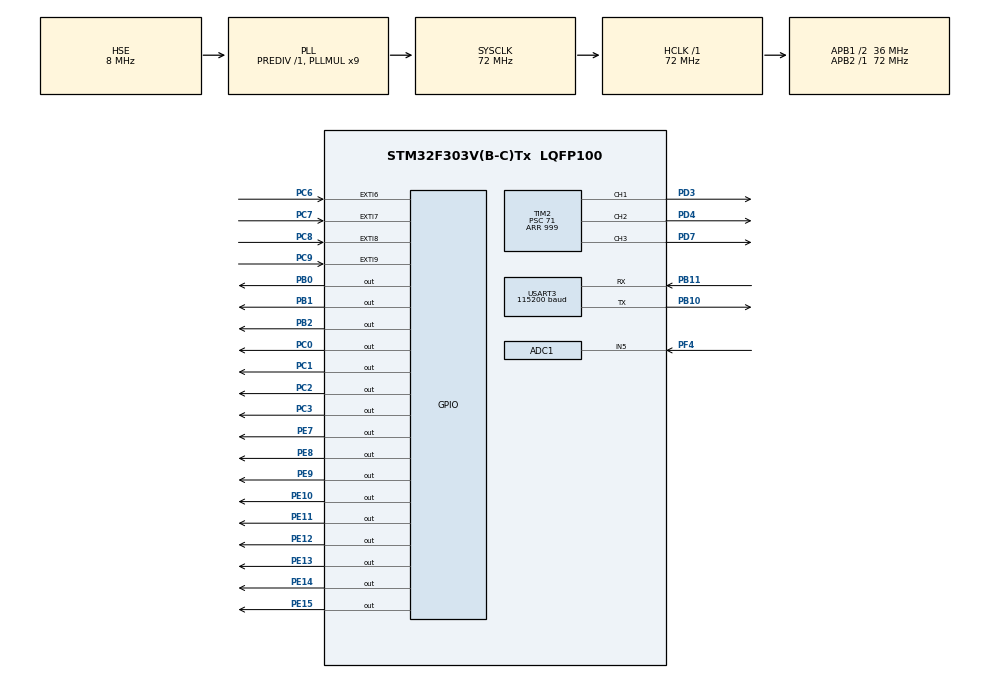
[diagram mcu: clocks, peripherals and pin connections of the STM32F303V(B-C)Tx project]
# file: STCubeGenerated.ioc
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ADC1.Channel-0\#ChannelRegularConversion=ADC_CHANNEL_5
ADC1.ContinuousConvMode=DISABLE
ADC1.DMAContinuousRequests=ENABLE
ADC1.ExternalTrigConv=ADC_EXTERNALTRIGCONV_T3_TRGO
ADC1.NbrOfConversionFlag=1
ADC1.Offset-0\#ChannelRegularConversion=0
ADC1.OffsetNumber-0\#ChannelRegularConversion=ADC_OFFSET_NONE
ADC1.Rank-0\#ChannelRegularConversion=1
ADC1.SamplingTime-0\#ChannelRegularConversion=ADC_SAMPLETIME_1CYCLE_5
ADC1.master=1
Dma.ADC1.0.Direction=DMA_PERIPH_TO_MEMORY
Dma.ADC1.0.Instance=DMA1_Channel1
Dma.ADC1.0.MemDataAlignment=DMA_MDATAALIGN_HALFWORD
Dma.ADC1.0.MemInc=DMA_MINC_ENABLE
Dma.ADC1.0.Mode=DMA_CIRCULAR
Dma.ADC1.0.PeriphDataAlignment=DMA_PDATAALIGN_HALFWORD
Dma.ADC1.0.PeriphInc=DMA_PINC_DISABLE
Dma.ADC1.0.Priority=DMA_PRIORITY_LOW
Dma.Request0=ADC1
Mcu.Family=STM32F3
Mcu.Name=STM32F303V(B-C)Tx
Mcu.Package=LQFP100
NVIC.DMA1_Channel1_IRQn=true\:0\:0\:false\:false\:true\:false\:true
NVIC.EXTI9_5_IRQn=true\:2\:0\:true\:false\:true\:true\:true
NVIC.PriorityGroup=NVIC_PRIORITYGROUP_4
NVIC.USART3_IRQn=true\:1\:0\:true\:false\:true\:true\:true
PB0.Signal=GPIO_Output
PB1.Signal=GPIO_Output
PB10.Mode=Asynchronous
PB10.Signal=USART3_TX
PB11.Mode=Asynchronous
PB11.Signal=USART3_RX
PB2.Signal=GPIO_Output
PC0.Signal=GPIO_Output
PC1.Signal=GPIO_Output
PC2.Signal=GPIO_Output
PC3.Signal=GPIO_Output
PC6.Signal=GPXTI6
PC7.Signal=GPXTI7
PC8.Signal=GPXTI8
PC9.Signal=GPXTI9
PD3.Signal=S_TIM2_CH1_ETR
PD4.Signal=S_TIM2_CH2
PD7.Signal=S_TIM2_CH3
PE10.Signal=GPIO_Output
PE11.Signal=GPIO_Output
PE12.Signal=GPIO_Output
PE13.Signal=GPIO_Output
PE14.Signal=GPIO_Output
PE15.Signal=GPIO_Output
PE7.Signal=GPIO_Output
PE8.Signal=GPIO_Output
PE9.Signal=GPIO_Output
PF0-OSC_IN.Mode=HSE-External-Clock-Source
PF0-OSC_IN.Signal=RCC_OSC_IN
PF4.Mode=IN5-Single-Ended
PF4.Signal=ADC1_IN5
ProjectManager.HeapSize=0x200
ProjectManager.StackSize=0x400
ProjectManager.TargetToolchain=MDK-ARM V5
RCC.AHBFreq_Value=72000000
RCC.APB1CLKDivider=RCC_HCLK_DIV2
RCC.APB1Freq_Value=36000000
RCC.APB1TimFreq_Value=72000000
RCC.APB2Freq_Value=72000000
RCC.APB2TimFreq_Value=72000000
RCC.CortexFreq_Value=72000000
RCC.HCLKFreq_Value=72000000
RCC.HSE_VALUE=8000000
RCC.HSI_VALUE=8000000
RCC.LSE_VALUE=32768
RCC.PLLMUL=RCC_PLL_MUL9
RCC.PLLSourceVirtual=RCC_PLLSOURCE_HSE
RCC.SYSCLKFreq_VALUE=72000000
RCC.SYSCLKSourceVirtual=RCC_SYSCLKSOURCE_PLLCLK
RCC.USBFreq_Value=72000000
SH.S_TIM2_CH1_ETR.0=TIM2_CH1,PWM Generation1 CH1
SH.S_TIM2_CH2.0=TIM2_CH2,PWM Generation2 CH2
SH.S_TIM2_CH3.0=TIM2_CH3,PWM Generation3 CH3
TIM2.Channel-PWM\ Generation1\ CH1=TIM_CHANNEL_1
TIM2.Channel-PWM\ Generation2\ CH2=TIM_CHANNEL_2
TIM2.Channel-PWM\ Generation3\ CH3=TIM_CHANNEL_3
TIM2.Period=999
TIM2.Prescaler=71
TIM2.Pulse-PWM\ Generation1\ CH1=499
TIM2.Pulse-PWM\ Generation2\ CH2=499
TIM2.Pulse-PWM\ Generation3\ CH3=499
TIM3.Period=19999
TIM3.Prescaler=719
TIM3.TIM_MasterOutputTrigger=TIM_TRGO_UPDATE
USART3.BaudRate=115200
USART3.VirtualMode-Asynchronous=VM_ASYNC
VP_TIM3_VS_ClockSourceINT.Mode=Internal
board=custom

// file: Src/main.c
/* USER CODE BEGIN Header */
/**
  ******************************************************************************
  * @file           : main.c
  * @brief          : Main program body
  ******************************************************************************
  * @attention
  *
  * <h2><center>&copy; Copyright (c) 2019 STMicroelectronics.
  * All rights reserved.</center></h2>
  *
  * This software component is licensed by ST under BSD 3-Clause license,
  * the "License"; You may not use this file except in compliance with the
  * License. You may obtain a copy of the License at:
  *                        opensource.org/licenses/BSD-3-Clause
  *
  ******************************************************************************
  */
/* USER CODE END Header */

#include "main.h"

/* USER CODE BEGIN Includes */
#include "stdio.h"
#include "stdlib.h"
#include "string.h"
#include "cmsis_os2.h"
#include "koibitoex_lcd2.h"
/* USER CODE END Includes */

ADC_HandleTypeDef hadc1;
DMA_HandleTypeDef hdma_adc1;

TIM_HandleTypeDef htim2;
TIM_HandleTypeDef htim3;

UART_HandleTypeDef huart3;

/* USER CODE BEGIN PV */

uint16_t adcVal;

osThreadId_t tid_LedThread1;

const osThreadAttr_t LedThread1_attr =
{
  .priority = osPriorityNormal2,
  .stack_size = 256
};

/* Push-btn*/
osThreadId_t tid_PbThread;

const osThreadAttr_t PbThread_attr =
{
  .priority = osPriorityNormal4,
  .stack_size = 256
};

osMessageQueueId_t mqid_PbMsgQ;

/* Up-Counter*/
osThreadId_t tid_UpCountThread;

const osThreadAttr_t UpCountThread_attr =
{
  .priority = osPriorityNormal2,
  .stack_size = 256
};

/* ADC Bar */
osThreadId_t tid_AdcBarThread;

const osThreadAttr_t AdcBarThread_attr =
{
  .priority = osPriorityNormal3,
  .stack_size = 512
};
osMessageQueueId_t mqid_AdcBarQ;

/* Led Bar */
osThreadId_t tid_CLedThread;

const osThreadAttr_t CLedThread_attr =
{
  .priority = osPriorityNormal1,
  .stack_size = 256
};
osMessageQueueId_t mqid_CLedQ;

/* LCD Resource Sync */
osMutexId_t mid_LcdMutex;

/* USER CODE END PV */

void SystemClock_Config(void);
static void MX_GPIO_Init(void);
static void MX_DMA_Init(void);
static void MX_ADC1_Init(void);
static void MX_TIM2_Init(void);
static void MX_TIM3_Init(void);
static void MX_USART3_UART_Init(void);
/* USER CODE BEGIN PFP */
void LedWriteCircle(uint8_t pos);
static void LedThread1(void * argument);
static void PbThread(void * argument);
static void UpCounter(void * argument);
static void AdcBarThread(void * argument);
static void CLedThread(void * argument);
/* USER CODE END PFP */

int main(void)
{

  /* MCU Configuration--------------------------------------------------------*/

  /* Reset of all peripherals, Initializes the Flash interface and the Systick. */
  HAL_Init();

  /* Configure the system clock */
  SystemClock_Config();

  /* USER CODE BEGIN SysInit */
  osKernelInitialize();
  /* USER CODE END SysInit */

  /* Initialize all configured peripherals */
  MX_GPIO_Init();
  MX_DMA_Init();
  MX_ADC1_Init();
  MX_TIM2_Init();
  MX_TIM3_Init();
  MX_USART3_UART_Init();
  /* USER CODE BEGIN 2 */

  /* uncomment below 2 lines to start the ADC */
  HAL_TIM_Base_Start(&htim3);
  HAL_ADC_Start_DMA(&hadc1, (uint32_t *)&adcVal, 1);

	LcdInit();
	LcdSetCursor(LCD_CURSOR_OFF);
	LcdSetBackLight(LCD_BACKLIGHT_ON);

//  tid_LedThread1 = osThreadNew(LedThread1, NULL, &LedThread1_attr);
//  if (tid_LedThread1 == NULL) return (-1);

  tid_PbThread = osThreadNew(PbThread, NULL, &PbThread_attr);
  if (tid_PbThread == NULL) return (-1);

	tid_UpCountThread = osThreadNew(UpCounter, NULL, &UpCountThread_attr);
  if (tid_UpCountThread == NULL) return (-1);

	tid_AdcBarThread = osThreadNew(AdcBarThread, NULL, &AdcBarThread_attr);
  if (tid_AdcBarThread == NULL) return (-1);

	tid_CLedThread = osThreadNew(CLedThread, NULL, &CLedThread_attr);
  if (tid_CLedThread == NULL) return (-1);

	mqid_CLedQ = osMessageQueueNew(10, 2, NULL);
	if (mqid_CLedQ == NULL) return (-1);

	mqid_AdcBarQ = osMessageQueueNew(10, 2, NULL);
	if (mqid_AdcBarQ == NULL) return (-1);

	mqid_PbMsgQ = osMessageQueueNew(5, 1, NULL);
	if (mqid_PbMsgQ == NULL) return (-1);

	mid_LcdMutex = osMutexNew(NULL);
	if (mid_LcdMutex == NULL) return (-1);

  osKernelStart();
  /* USER CODE END 2 */

  /* Infinite loop */
  while (1)
  {

  }
}

void SystemClock_Config(void)
{
  RCC_OscInitTypeDef RCC_OscInitStruct = {0};
  RCC_ClkInitTypeDef RCC_ClkInitStruct = {0};
  RCC_PeriphCLKInitTypeDef PeriphClkInit = {0};

  /** Initializes the CPU, AHB and APB busses clocks
  */
  RCC_OscInitStruct.OscillatorType = RCC_OSCILLATORTYPE_HSE;
  RCC_OscInitStruct.HSEState = RCC_HSE_BYPASS;
  RCC_OscInitStruct.HSEPredivValue = RCC_HSE_PREDIV_DIV1;
  RCC_OscInitStruct.HSIState = RCC_HSI_ON;
  RCC_OscInitStruct.PLL.PLLState = RCC_PLL_ON;
  RCC_OscInitStruct.PLL.PLLSource = RCC_PLLSOURCE_HSE;
  RCC_OscInitStruct.PLL.PLLMUL = RCC_PLL_MUL9;
  if (HAL_RCC_OscConfig(&RCC_OscInitStruct) != HAL_OK)
  {
    Error_Handler();
  }
  /** Initializes the CPU, AHB and APB busses clocks
  */
  RCC_ClkInitStruct.ClockType = RCC_CLOCKTYPE_HCLK|RCC_CLOCKTYPE_SYSCLK
                              |RCC_CLOCKTYPE_PCLK1|RCC_CLOCKTYPE_PCLK2;
  RCC_ClkInitStruct.SYSCLKSource = RCC_SYSCLKSOURCE_PLLCLK;
  RCC_ClkInitStruct.AHBCLKDivider = RCC_SYSCLK_DIV1;
  RCC_ClkInitStruct.APB1CLKDivider = RCC_HCLK_DIV2;
  RCC_ClkInitStruct.APB2CLKDivider = RCC_HCLK_DIV1;

  if (HAL_RCC_ClockConfig(&RCC_ClkInitStruct, FLASH_LATENCY_2) != HAL_OK)
  {
    Error_Handler();
  }
  PeriphClkInit.PeriphClockSelection = RCC_PERIPHCLK_USART3|RCC_PERIPHCLK_ADC12;
  PeriphClkInit.Usart3ClockSelection = RCC_USART3CLKSOURCE_PCLK1;
  PeriphClkInit.Adc12ClockSelection = RCC_ADC12PLLCLK_DIV1;
  if (HAL_RCCEx_PeriphCLKConfig(&PeriphClkInit) != HAL_OK)
  {
    Error_Handler();
  }
}

static void MX_ADC1_Init(void)
{

  ADC_MultiModeTypeDef multimode = {0};
  ADC_ChannelConfTypeDef sConfig = {0};

  /** Common config
  */
  hadc1.Instance = ADC1;
  hadc1.Init.ClockPrescaler = ADC_CLOCK_ASYNC_DIV1;
  hadc1.Init.Resolution = ADC_RESOLUTION_12B;
  hadc1.Init.ScanConvMode = ADC_SCAN_DISABLE;
  hadc1.Init.ContinuousConvMode = DISABLE;
  hadc1.Init.DiscontinuousConvMode = DISABLE;
  hadc1.Init.ExternalTrigConvEdge = ADC_EXTERNALTRIGCONVEDGE_RISING;
  hadc1.Init.ExternalTrigConv = ADC_EXTERNALTRIGCONV_T3_TRGO;
  hadc1.Init.DataAlign = ADC_DATAALIGN_RIGHT;
  hadc1.Init.NbrOfConversion = 1;
  hadc1.Init.DMAContinuousRequests = ENABLE;
  hadc1.Init.EOCSelection = ADC_EOC_SINGLE_CONV;
  hadc1.Init.LowPowerAutoWait = DISABLE;
  hadc1.Init.Overrun = ADC_OVR_DATA_OVERWRITTEN;
  if (HAL_ADC_Init(&hadc1) != HAL_OK)
  {
    Error_Handler();
  }
  /** Configure the ADC multi-mode
  */
  multimode.Mode = ADC_MODE_INDEPENDENT;
  if (HAL_ADCEx_MultiModeConfigChannel(&hadc1, &multimode) != HAL_OK)
  {
    Error_Handler();
  }
  /** Configure Regular Channel
  */
  sConfig.Channel = ADC_CHANNEL_5;
  sConfig.Rank = ADC_REGULAR_RANK_1;
  sConfig.SingleDiff = ADC_SINGLE_ENDED;
  sConfig.SamplingTime = ADC_SAMPLETIME_1CYCLE_5;
  sConfig.OffsetNumber = ADC_OFFSET_NONE;
  sConfig.Offset = 0;
  if (HAL_ADC_ConfigChannel(&hadc1, &sConfig) != HAL_OK)
  {
    Error_Handler();
  }

}

static void MX_TIM2_Init(void)
{

  TIM_MasterConfigTypeDef sMasterConfig = {0};
  TIM_OC_InitTypeDef sConfigOC = {0};

  htim2.Instance = TIM2;
  htim2.Init.Prescaler = 71;
  htim2.Init.CounterMode = TIM_COUNTERMODE_UP;
  htim2.Init.Period = 999;
  htim2.Init.ClockDivision = TIM_CLOCKDIVISION_DIV1;
  htim2.Init.AutoReloadPreload = TIM_AUTORELOAD_PRELOAD_DISABLE;
  if (HAL_TIM_PWM_Init(&htim2) != HAL_OK)
  {
    Error_Handler();
  }
  sMasterConfig.MasterOutputTrigger = TIM_TRGO_RESET;
  sMasterConfig.MasterSlaveMode = TIM_MASTERSLAVEMODE_DISABLE;
  if (HAL_TIMEx_MasterConfigSynchronization(&htim2, &sMasterConfig) != HAL_OK)
  {
    Error_Handler();
  }
  sConfigOC.OCMode = TIM_OCMODE_PWM1;
  sConfigOC.Pulse = 499;
  sConfigOC.OCPolarity = TIM_OCPOLARITY_HIGH;
  sConfigOC.OCFastMode = TIM_OCFAST_DISABLE;
  if (HAL_TIM_PWM_ConfigChannel(&htim2, &sConfigOC, TIM_CHANNEL_1) != HAL_OK)
  {
    Error_Handler();
  }
  if (HAL_TIM_PWM_ConfigChannel(&htim2, &sConfigOC, TIM_CHANNEL_2) != HAL_OK)
  {
    Error_Handler();
  }
  if (HAL_TIM_PWM_ConfigChannel(&htim2, &sConfigOC, TIM_CHANNEL_3) != HAL_OK)
  {
    Error_Handler();
  }
  HAL_TIM_MspPostInit(&htim2);

}

static void MX_TIM3_Init(void)
{

  TIM_ClockConfigTypeDef sClockSourceConfig = {0};
  TIM_MasterConfigTypeDef sMasterConfig = {0};

  htim3.Instance = TIM3;
  htim3.Init.Prescaler = 719;
  htim3.Init.CounterMode = TIM_COUNTERMODE_UP;
  htim3.Init.Period = 19999;
  htim3.Init.ClockDivision = TIM_CLOCKDIVISION_DIV1;
  htim3.Init.AutoReloadPreload = TIM_AUTORELOAD_PRELOAD_DISABLE;
  if (HAL_TIM_Base_Init(&htim3) != HAL_OK)
  {
    Error_Handler();
  }
  sClockSourceConfig.ClockSource = TIM_CLOCKSOURCE_INTERNAL;
  if (HAL_TIM_ConfigClockSource(&htim3, &sClockSourceConfig) != HAL_OK)
  {
    Error_Handler();
  }
  sMasterConfig.MasterOutputTrigger = TIM_TRGO_UPDATE;
  sMasterConfig.MasterSlaveMode = TIM_MASTERSLAVEMODE_DISABLE;
  if (HAL_TIMEx_MasterConfigSynchronization(&htim3, &sMasterConfig) != HAL_OK)
  {
    Error_Handler();
  }

}

static void MX_USART3_UART_Init(void)
{

  huart3.Instance = USART3;
  huart3.Init.BaudRate = 115200;
  huart3.Init.WordLength = UART_WORDLENGTH_8B;
  huart3.Init.StopBits = UART_STOPBITS_1;
  huart3.Init.Parity = UART_PARITY_NONE;
  huart3.Init.Mode = UART_MODE_TX_RX;
  huart3.Init.HwFlowCtl = UART_HWCONTROL_NONE;
  huart3.Init.OverSampling = UART_OVERSAMPLING_16;
  huart3.Init.OneBitSampling = UART_ONE_BIT_SAMPLE_DISABLE;
  huart3.AdvancedInit.AdvFeatureInit = UART_ADVFEATURE_NO_INIT;
  if (HAL_UART_Init(&huart3) != HAL_OK)
  {
    Error_Handler();
  }

}

static void MX_DMA_Init(void)
{

  /* DMA controller clock enable */
  __HAL_RCC_DMA1_CLK_ENABLE();

  /* DMA interrupt init */
  /* DMA1_Channel1_IRQn interrupt configuration */
  HAL_NVIC_SetPriority(DMA1_Channel1_IRQn, 0, 0);
  HAL_NVIC_EnableIRQ(DMA1_Channel1_IRQn);

}

static void MX_GPIO_Init(void)
{
  GPIO_InitTypeDef GPIO_InitStruct = {0};

  /* GPIO Ports Clock Enable */
  __HAL_RCC_GPIOF_CLK_ENABLE();
  __HAL_RCC_GPIOC_CLK_ENABLE();
  __HAL_RCC_GPIOB_CLK_ENABLE();
  __HAL_RCC_GPIOE_CLK_ENABLE();
  __HAL_RCC_GPIOD_CLK_ENABLE();

  /*Configure GPIO pin Output Level */
  HAL_GPIO_WritePin(GPIOC, GPIO_PIN_0|GPIO_PIN_1|GPIO_PIN_2|GPIO_PIN_3, GPIO_PIN_RESET);

  /*Configure GPIO pin Output Level */
  HAL_GPIO_WritePin(GPIOB, GPIO_PIN_0|GPIO_PIN_1|GPIO_PIN_2, GPIO_PIN_RESET);

  /*Configure GPIO pin Output Level */
  HAL_GPIO_WritePin(GPIOE, GPIO_PIN_7|GPIO_PIN_8|GPIO_PIN_9|GPIO_PIN_10
                          |GPIO_PIN_11|GPIO_PIN_12|GPIO_PIN_13|GPIO_PIN_14
                          |GPIO_PIN_15, GPIO_PIN_RESET);

  /*Configure GPIO pins : PC0 PC1 PC2 PC3 */
  GPIO_InitStruct.Pin = GPIO_PIN_0|GPIO_PIN_1|GPIO_PIN_2|GPIO_PIN_3;
  GPIO_InitStruct.Mode = GPIO_MODE_OUTPUT_PP;
  GPIO_InitStruct.Pull = GPIO_NOPULL;
  GPIO_InitStruct.Speed = GPIO_SPEED_FREQ_LOW;
  HAL_GPIO_Init(GPIOC, &GPIO_InitStruct);

  /*Configure GPIO pins : PB0 PB1 PB2 */
  GPIO_InitStruct.Pin = GPIO_PIN_0|GPIO_PIN_1|GPIO_PIN_2;
  GPIO_InitStruct.Mode = GPIO_MODE_OUTPUT_PP;
  GPIO_InitStruct.Pull = GPIO_NOPULL;
  GPIO_InitStruct.Speed = GPIO_SPEED_FREQ_LOW;
  HAL_GPIO_Init(GPIOB, &GPIO_InitStruct);

  /*Configure GPIO pins : PE7 PE8 PE9 PE10
                           PE11 PE12 PE13 PE14
                           PE15 */
  GPIO_InitStruct.Pin = GPIO_PIN_7|GPIO_PIN_8|GPIO_PIN_9|GPIO_PIN_10
                          |GPIO_PIN_11|GPIO_PIN_12|GPIO_PIN_13|GPIO_PIN_14
                          |GPIO_PIN_15;
  GPIO_InitStruct.Mode = GPIO_MODE_OUTPUT_PP;
  GPIO_InitStruct.Pull = GPIO_NOPULL;
  GPIO_InitStruct.Speed = GPIO_SPEED_FREQ_LOW;
  HAL_GPIO_Init(GPIOE, &GPIO_InitStruct);

  /*Configure GPIO pins : PC6 PC7 PC8 PC9 */
  GPIO_InitStruct.Pin = GPIO_PIN_6|GPIO_PIN_7|GPIO_PIN_8|GPIO_PIN_9;
  GPIO_InitStruct.Mode = GPIO_MODE_IT_RISING;
  GPIO_InitStruct.Pull = GPIO_NOPULL;
  HAL_GPIO_Init(GPIOC, &GPIO_InitStruct);

  /* EXTI interrupt init*/
  HAL_NVIC_SetPriority(EXTI9_5_IRQn, 2, 0);
  HAL_NVIC_EnableIRQ(EXTI9_5_IRQn);

}

/* USER CODE BEGIN 4 */

/* Utilities Routine ---------------------------------------------------------*/

void LedWriteCircle(uint8_t pos)
{
  HAL_GPIO_WritePin(GPIOE, GPIO_PIN_8, (pos == 0) ? GPIO_PIN_SET : GPIO_PIN_RESET);
  HAL_GPIO_WritePin(GPIOE, GPIO_PIN_9, (pos == 1) ? GPIO_PIN_SET : GPIO_PIN_RESET);
  HAL_GPIO_WritePin(GPIOE, GPIO_PIN_10, (pos == 2) ? GPIO_PIN_SET : GPIO_PIN_RESET);
  HAL_GPIO_WritePin(GPIOE, GPIO_PIN_11, (pos == 3) ? GPIO_PIN_SET : GPIO_PIN_RESET);
  HAL_GPIO_WritePin(GPIOE, GPIO_PIN_12, (pos == 4) ? GPIO_PIN_SET : GPIO_PIN_RESET);
  HAL_GPIO_WritePin(GPIOE, GPIO_PIN_13, (pos == 5) ? GPIO_PIN_SET : GPIO_PIN_RESET);
  HAL_GPIO_WritePin(GPIOE, GPIO_PIN_14, (pos == 6) ? GPIO_PIN_SET : GPIO_PIN_RESET);
  HAL_GPIO_WritePin(GPIOE, GPIO_PIN_15, (pos == 7) ? GPIO_PIN_SET : GPIO_PIN_RESET);
}

/* Thread Routine ------------------------------------------------------------*/

static void LedThread1(void * argument)
{
  while(1)
  {
    HAL_GPIO_TogglePin(GPIOE, GPIO_PIN_8);
    osDelay(100);
  }
}

static void PbThread(void * argument)
{
	uint8_t msg;
  while(1)
  {
		osMessageQueueGet(mqid_PbMsgQ, &msg, NULL, osWaitForever);
		/* Critical Section*/
		osMutexAcquire(mid_LcdMutex, osWaitForever);
		LcdSetPosition(LCD_LINE_2, 12);
		LcdPutS((unsigned char *)"    ");
		LcdSetPosition(LCD_LINE_2, 11 + msg);
		LcdPutCh('0' + msg);
		osMutexRelease(mid_LcdMutex);
		/* Critical Section*/
  }
}

static void UpCounter(void * argument)
{
	uint8_t counting = 0;
	uint8_t str[20];
	while(1)
	{
		sprintf((char *)str,"CntUp=%03d", counting++);
		/* Critical Section*/
		osMutexAcquire(mid_LcdMutex, osWaitForever);
		LcdSetPosition(LCD_LINE_2, 0);
		LcdPutS(str);
		osMutexRelease(mid_LcdMutex);
		/* Critical Section*/
		osDelay(200);
	}
}

static void AdcBarThread(void * argument)
{
	uint16_t msg;
	uint8_t str[20];
	double volt;
	while(1)
	{
		osMessageQueueGet(mqid_AdcBarQ, &msg, NULL, osWaitForever);
		volt = (3.3/4095)*msg;
		sprintf((char *)str,"Voltage=%.2fv",volt);
		/* Critical Section*/
		osMutexAcquire(mid_LcdMutex, osWaitForever);
		LcdSetPosition(LCD_LINE_1, 0);
		LcdPutS(str);
		osMutexRelease(mid_LcdMutex);
		/* Critical Section*/
	}
}

static void CLedThread(void * argument)
{
	uint16_t msg;
	double volt;
	uint8_t i;
	while(1)
	{
		osMessageQueueGet(mqid_CLedQ, &msg, NULL, 50);
		volt = (3.3/4095) * msg;

		if (volt <= 1.0)
		{
			i--;
		}else if(volt > 1.0 && volt <= 2.0){
			i = i;
		}else if(volt > 2.0)
		{
			i++;
		}
		LedWriteCircle(i % 8);
	}
}
/* Interrupt Service Routine -------------------------------------------------*/

void HAL_ADC_ConvCpltCallback(ADC_HandleTypeDef* hadc)
{
  uint8_t msg;
  if(hadc->Instance == hadc1.Instance)
  {
    /* Automatic read ADC value every 200ms */
		osMessageQueuePut(mqid_AdcBarQ, &adcVal, NULL, 0);
		osMessageQueuePut(mqid_CLedQ, &adcVal, NULL, 0);
  }
}

void HAL_GPIO_EXTI_Callback(uint16_t GPIO_Pin)
{
	uint8_t msg;

	if(GPIO_Pin == GPIO_PIN_6)
		msg = 1;
	else if(GPIO_Pin == GPIO_PIN_7)
		msg = 2;
	else if(GPIO_Pin == GPIO_PIN_8)
		msg = 3;
	else if(GPIO_Pin == GPIO_PIN_9)
		msg = 4;

	osMessageQueuePut(mqid_PbMsgQ, &msg, NULL, 0);
}

/* USER CODE END 4 */

void Error_Handler(void)
{
}

/************************ (C) COPYRIGHT STMicroelectronics *****END OF FILE****/
